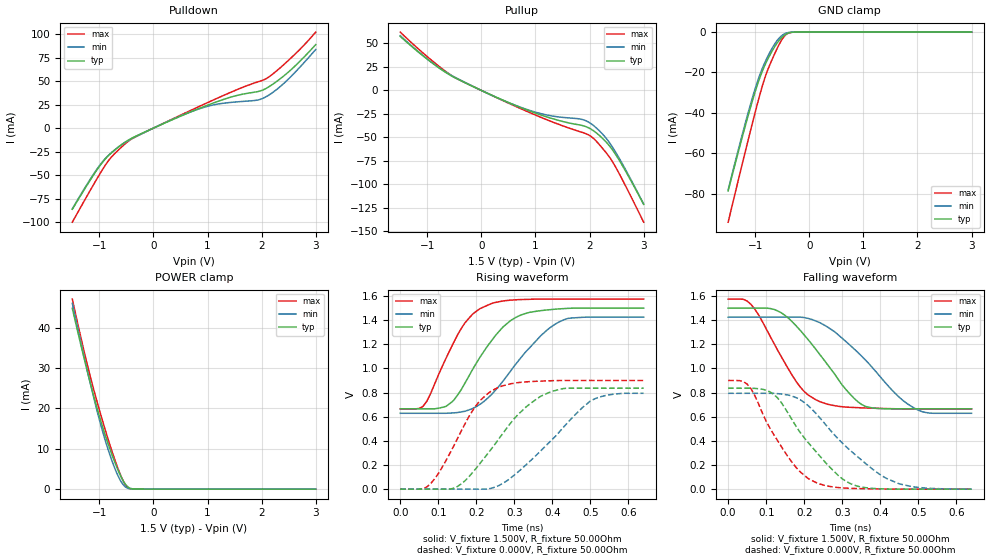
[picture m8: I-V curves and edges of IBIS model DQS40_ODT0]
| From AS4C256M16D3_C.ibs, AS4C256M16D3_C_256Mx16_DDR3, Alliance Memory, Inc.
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|   Model DQS40_ODT0
[Model]   DQS40_ODT0
Model_type   I/O
Enable   Active-High
Vinl = 575.000mV
Vinh = 925.000mV
Vmeas = 750.000mV
Vref = 750.000mV
Cref = 0.0pF
Rref = 25.000Ohm
|   typ   min   max
C_comp   1.28pF   1.22pF   1.43pF
[Model Spec]
| Input threshold voltage corners
Vinl   0.5750V   0.5375V   0.6125V
Vinh   0.9250V   0.8875V   0.9625V
| Measurement voltage corners
Vmeas   0.7500V   0.7125V   0.7875V
| Timing spec test load voltage corners
Vref   0.7500V   0.7125V   0.7875V
|[Receiver Thresholds]
|Vth   =  0.750V
|Vth_min  =  0.735V
|Vth_max  =  0.765V
|Vinh_ac  =  0.175V
|Vinh_dc  =  0.100V
|Vinl_ac  = -0.175V
|Vinl_dc  = -0.100V
|Tslew_ac =  5.000ns
|Threshold_sensitivity = 0.50
|Reference_supply Pullup_ref
|[Receiver Thresholds]
|Vcross_low   = 0.600V
|Vcross_high  = 0.900V
|Vdiff_ac   = 300mV
|Vdiff_dc   = 200mV
|Tdiffslew_ac = 10.000ns
[Temperature Range]   85.00   110.00   0.00
[Voltage Range]   1.500V   1.425V   1.575V
[Pullup Reference]   1.500V   1.425V   1.575V
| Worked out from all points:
|   slope of the pulldown table from 0 to 0.225 V, typ, clamps not added: 38.9 ohm
|   slope of the pullup table from 0 to 0.225 V, typ, clamps not added: 38 ohm
|   GND clamp passes 1 mA (typ) near -0.43 V on its own axis
|   POWER clamp passes 1 mA (typ) near -0.51 V on its own axis
|   rising waveform, V_fixture 1.500V, R_fixture 50.00Ohm: 20-80 % time 105ps typ, 127ps min, 87.1ps max; typ from 0.666 V to 1.5 V
|   falling waveform, V_fixture 1.500V, R_fixture 50.00Ohm: 20-80 % time 123ps typ, 147ps min, 100ps max; typ from 1.5 V to 0.666 V
|   rising waveform, V_fixture 0.000V, R_fixture 50.00Ohm: 20-80 % time 129ps typ, 150ps min, 96.4ps max; typ from 0 V to 0.836 V
|   falling waveform, V_fixture 0.000V, R_fixture 50.00Ohm: 20-80 % time 122ps typ, 154ps min, 101ps max; typ from 0.836 V to 0 V
[Pulldown]
|   Voltage   I(typ)   I(min)   I(max)
-1.5V     -86.42mA   -85.86mA   -100.1mA
-1.125V   -51.39mA   -50.51mA   -61.85mA
-925mV    -35.14mA   -34.59mA   -42.55mA
-775mV    -26.24mA   -26.02mA   -30.63mA
-475mV    -13.16mA   -13.55mA   -14.42mA
325mV     8.319mA    8.624mA    8.955mA
875mV     21.56mA    21.05mA    23.81mA
1.425V    32.87mA    27.29mA    38mA
2.025V    40.6mA     31.71mA    51.01mA
2.175V    45.5mA     36.72mA    56.15mA
2.425V    56.24mA    48.36mA    68.37mA
3V        88.82mA    83.64mA    102.2mA
[Pullup]
-1.5V     57.46mA    58.29mA    62.07mA
-1.025V   34.37mA    34.55mA    37.18mA
-625mV    17.92mA    18.35mA    18.78mA
175mV     -4.619mA   -4.736mA   -4.789mA
975mV     -23.61mA   -22.69mA   -25.57mA
1.325V    -30.19mA   -27.35mA   -33.76mA
1.825V    -36.81mA   -30.39mA   -43.92mA
2.025V    -41.11mA   -35.28mA   -48.79mA
2.225V    -50.19mA   -45.51mA   -60.59mA
2.425V    -63.28mA   -60.42mA   -75.87mA
2.625V    -81.7mA    -80.03mA   -96.98mA
3V        -121.2mA   -120.9mA   -140.1mA
[GND Clamp]
|   Voltage   I(typ)   I(min)   I(max)
-1.5V     -78.66mA   -78.09mA   -94.12mA
-1.275V   -55.59mA   -54.4mA    -69.19mA
-1.125V   -40.88mA   -39.43mA   -52.88mA
-1V       -29.48mA   -27.97mA   -39.68mA
-900mV    -21.53mA   -20.13mA   -29.67mA
-800mV    -15.18mA   -13.84mA   -20.99mA
-650mV    -7.694mA   -6.337mA   -11.31mA
-525mV    -3.129mA   -2.128mA   -4.526mA
-425mV    -964.7uA   -481.8uA   -1.156mA
-350mV    -231.3uA   -91.54uA   -238.7uA
-250mV    -15.37uA   -6.172uA   -5.421uA
3V        0A         0A         0A
[POWER Clamp]
|   Voltage   I(typ)   I(min)   I(max)
-1.5V     44.74mA    45.98mA    47.04mA
-1.325V   34.74mA    35.34mA    36.54mA
-1.2V     27.95mA    28.02mA    29.57mA
-1.05V    20.4mA     19.77mA    21.99mA
-900mV    13.72mA    12.46mA    15.05mA
-775mV    8.812mA    7.307mA    9.691mA
-650mV    4.532mA    3.159mA    4.91mA
-550mV    1.825mA    947.5uA    1.813mA
-475mV    579.7uA    228.8uA    417.2uA
-400mV    113.5uA    40.63uA    36.82uA
-275mV    4.573uA    1.85uA     362.3nA
3V        0A         0A         0A
[Ramp]
R_load = 50.00Ohm
|   typ   min   max
dV/dt_r   350.95mV/122.76ps   337.81mV/163.14ps   382.67mV/99.230ps
dV/dt_f   350.95mV/131.46ps   337.81mV/173.09ps   382.67mV/100.65ps
[Rising Waveform]
V_fixture = 1.500V
V_fixture_min = 1.425V
V_fixture_max = 1.575V
R_fixture = 50.00Ohm
|   Time   V(typ)   V(min)   V(max)
0s        665.8mV    628.7mV    665.2mV
60ps      665.8mV    628.7mV    686.4mV
120ps     685.6mV    628.7mV    1.082V
170ps     877.9mV    645.5mV    1.377V
210ps     1.095V     703.6mV    1.496V
260ps     1.308V     854.1mV    1.553V
300ps     1.416V     1.021V     1.568V
370ps     1.479V     1.273V     1.575V
420ps     1.494V     1.389V     1.575V
640ps     1.5V       1.425V     1.575V
[Falling Waveform]
V_fixture = 1.500V
V_fixture_min = 1.425V
V_fixture_max = 1.575V
R_fixture = 50.00Ohm
|   Time   V(typ)   V(min)   V(max)
0s        1.5V       1.425V     1.575V
60ps      1.5V       1.425V     1.531V
130ps     1.477V     1.425V     1.152V
190ps     1.314V     1.425V     844.5mV
240ps     1.12V      1.381V     726.4mV
310ps     824.4mV    1.222V     679.8mV
360ps     686.9mV    1.073V     672.7mV
440ps     665.8mV    791.2mV    666.2mV
490ps     665.8mV    670mV      665.2mV
640ps     665.8mV    628.7mV    665.2mV
[Rising Waveform]
V_fixture = 0.000V
V_fixture_min = 0.000V
V_fixture_max = 0.000V
R_fixture = 50.00Ohm
|   Time   V(typ)   V(min)   V(max)
0s        89.3uV     107.6uV    10.05uV
70ps      89.3uV     107.6uV    18.53mV
100ps     89.3uV     107.6uV    128.1mV
150ps     21.23mV    107.6uV    416.7mV
210ps     214.2mV    107.6uV    734.8mV
260ps     419.7mV    31.09mV    846.7mV
330ps     679mV      199.4mV    888.9mV
400ps     811mV      413.3mV    898.7mV
510ps     836.4mV    746.5mV    900.5mV
640ps     836.4mV    794.2mV    900.5mV
[Falling Waveform]
V_fixture = 0.000V
V_fixture_min = 0.000V
V_fixture_max = 0.000V
R_fixture = 50.00Ohm
|   Time   V(typ)   V(min)   V(max)
0s        836.4mV    794.2mV    900.5mV
50ps      836.4mV    794.2mV    870.3mV
120ps     784.9mV    794.2mV    452.1mV
180ps     513mV      756.9mV    174.8mV
230ps     314.5mV    630.4mV    56.24mV
290ps     111.7mV    413.8mV    13.05mV
320ps     48.21mV    323.9mV    7.252mV
420ps     1.346mV    83.69mV    1.206mV
490ps     89.3uV     17.79mV    10.05uV
640ps     89.3uV     107.6uV    10.05uV
